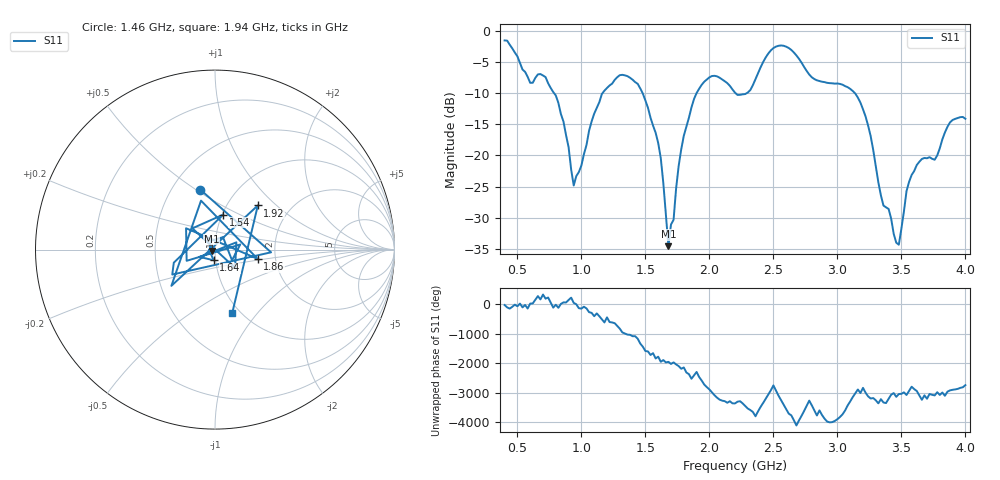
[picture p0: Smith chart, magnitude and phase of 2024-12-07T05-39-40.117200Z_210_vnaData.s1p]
!Created with skrf (http://scikit-rf.org).
# Hz S RI R 50.0
!freq ReS11 ImS11
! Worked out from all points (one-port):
!   181 points, 400 MHz to 4 GHz, reference 50 ohm
!   lowest |S11| = -34.6 dB at 1.68 GHz (marker M1), VSWR 1.04, Z = 48.3 - j0.696 ohm
!   |S11| at or under -10 dB: 785.7 MHz to 1.166 GHz (379.9 MHz wide, 38.9 % of centre); 1.478 GHz to 1.9 GHz (422.4 MHz wide, 25 % of centre); 3.136 GHz to end of sweep (the widest 3 of 4)
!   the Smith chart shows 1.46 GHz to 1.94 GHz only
!   S11 on the Smith chart (normalised r, x): 1.46 GHz: 0.69, +0.52; 1.54 GHz: 1.01, +0.41; 1.64 GHz: 0.98, -0.12; 1.86 GHz: 1.61, -0.18; 1.92 GHz: 1.38, +0.77; 1.94 GHz: 0.91, -0.75
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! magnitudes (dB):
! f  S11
! 400 MHz  -1.6
! 600 MHz  -8.4
! 720 MHz  -7.4
! 860 MHz  -14.6
! 940 MHz  -24.8
! 1.16 GHz  -10.1
! 1.3 GHz  -7.1
! 1.46 GHz  -9.3
! 1.54 GHz  -14.0
! 1.6 GHz  -18.0
! 1.64 GHz  -24.5
! 1.68 GHz  -34.6
! 1.72 GHz  -30.3
! 1.76 GHz  -21.7
! 1.86 GHz  -12.3
! 1.92 GHz  -9.3
! 1.94 GHz  -8.7
! 2.2 GHz  -9.9
! 2.32 GHz  -9.5
! 2.5 GHz  -2.8
! 2.66 GHz  -3.5
! 3.1 GHz  -9.3
! 3.22 GHz  -13.8
! 3.34 GHz  -26.4
! 3.46 GHz  -34.0
! 3.48 GHz  -34.3
! 3.56 GHz  -24.3
! 4 GHz  -14.1
